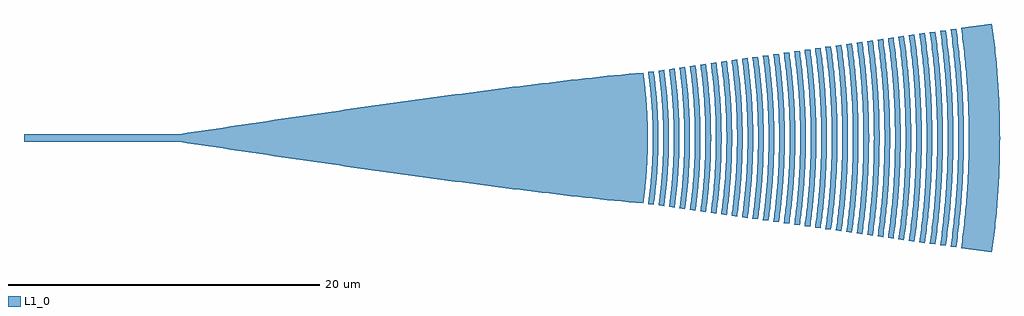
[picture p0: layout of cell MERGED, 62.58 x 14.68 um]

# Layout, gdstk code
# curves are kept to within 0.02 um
import gdstk
lib = gdstk.Library(unit=1e-6, precision=1e-09)
def R(c, l, rs):  # rectangles x0, y0, x1, y1
    for r in rs: c.add(gdstk.rectangle(r[:2], r[2:], *l))
def P(c, l, *ps):  # polygons
    for p in ps: c.add(gdstk.Polygon(p, *l))
L1_0 = (1, 0)

merged = lib.new_cell('MERGED')
R(merged, L1_0, [(-40,-0.25,-30,0.25)])
P(merged, L1_0, [(-0.294,-4.188),(-4.007,-3.828),(-10.505,-3.035),(-17.932,-2.026),(-26.287,-0.811),(-30,-0.25),(-30,0.25),(-20.717,1.629),(-11.898,2.852),(-4.935,3.722),(-2.15,4.026),(-0.294,4.188)],
  [(-0.294,-4.188),(-0.585,-4.147),(-0.376,-2.208),(-0.294,-0.13),(-0.358,1.949),(-0.444,2.985),(-0.585,4.147),(-0.294,4.188),(-0.083,2.23),(0,0.131),(-0.056,-1.837),(-0.165,-3.146)],
  [(22.068,-7.341),(20.087,-7.061),(20.304,-5.304),(20.459,-3.539),(20.552,-1.771),(20.583,0),(20.552,1.771),(20.459,3.539),(20.304,5.304),(20.087,7.061),(22.068,7.341),(22.293,5.513),(22.454,3.679),(22.542,2.071),(22.583,0),(22.542,-2.071),(22.454,-3.679),(22.293,-5.513)],
  [(0.375,-4.282),(0.022,-4.233),(0.245,-2.121),(0.319,-0.133),(0.254,1.989),(0.166,3.047),(0.022,4.233),(0.375,4.282),(0.591,2.28),(0.675,0.134),(0.657,-1.074),(0.591,-2.28)],
  [(1.044,-4.377),(0.691,-4.327),(0.919,-2.169),(0.995,0),(0.919,2.169),(0.691,4.327),(1.044,4.377),(1.274,2.194),(1.351,0.137),(1.332,-1.098),(1.274,-2.194)],
  [(1.713,-4.471),(1.36,-4.421),(1.51,-3.183),(1.602,-2.078),(1.67,-0.139),(1.602,2.078),(1.51,3.183),(1.36,4.421),(1.713,4.471),(1.938,2.381),(2.002,1.261),(2.026,0.14),(2.007,-1.121),(1.948,-2.241)],
  [(2.382,-4.565),(2.029,-4.515),(2.256,-2.404),(2.345,-0.142),(2.276,2.122),(2.182,3.251),(2.029,4.515),(2.382,4.565),(2.522,3.429),(2.622,2.288),(2.682,1.145),(2.702,0),(2.682,-1.145),(2.622,-2.288),(2.522,-3.429)],
  [(3.05,-4.659),(2.698,-4.61),(2.93,-2.455),(3.021,-0.145),(3.01,0.867),(2.95,2.166),(2.854,3.318),(2.698,4.61),(3.05,4.659),(3.285,2.481),(3.357,1.168),(3.377,0.146),(3.315,-2.044),(3.223,-3.209)],
  [(3.719,-4.754),(3.366,-4.704),(3.511,-3.533),(3.614,-2.358),(3.696,-0.147),(3.681,1.032),(3.624,2.211),(3.511,3.533),(3.366,4.704),(3.719,4.754),(3.865,3.57),(3.969,2.383),(4.032,1.192),(4.053,0),(4.032,-1.192),(3.969,-2.383),(3.865,-3.57)],
  [(4.388,-4.848),(4.035,-4.798),(4.198,-3.454),(4.288,-2.405),(4.351,-1.203),(4.372,0),(4.351,1.203),(4.288,2.405),(4.198,3.454),(4.035,4.798),(4.388,4.848),(4.632,2.582),(4.701,1.368),(4.728,0.152),(4.707,-1.216),(4.643,-2.43),(4.537,-3.641)],
  [(5.057,-4.942),(4.704,-4.893),(4.939,-2.758),(5.014,-1.533),(5.047,-0.153),(5.031,1.074),(4.972,2.299),(4.87,3.522),(4.704,4.893),(5.057,4.942),(5.192,3.866),(5.317,2.477),(5.382,1.239),(5.404,0),(5.382,-1.239),(5.317,-2.477),(5.192,-3.866)],
  [(5.726,-5.037),(5.373,-4.987),(5.526,-3.746),(5.646,-2.344),(5.723,0),(5.646,2.344),(5.526,3.746),(5.373,4.987),(5.726,5.037),(5.88,3.783),(5.991,2.525),(6.079,0.158),(6.057,-1.263),(5.991,-2.525),(5.88,-3.783)],
  [(6.395,-5.131),(6.042,-5.081),(6.198,-3.816),(6.309,-2.547),(6.398,-0.159),(6.386,0.956),(6.32,2.388),(6.198,3.816),(6.042,5.081),(6.395,5.131),(6.653,2.732),(6.732,1.287),(6.755,0),(6.732,-1.287),(6.653,-2.732)],
  [(7.063,-5.225),(6.711,-5.175),(6.852,-4.049),(6.983,-2.594),(7.051,-1.298),(7.074,0),(7.051,1.298),(6.983,2.594),(6.852,4.049),(6.711,5.175),(7.063,5.225),(7.224,3.925),(7.338,2.619),(7.401,1.474),(7.43,0.164),(7.407,-1.31),(7.338,-2.619),(7.224,-3.925)],
  [(7.732,-5.32),(7.379,-5.27),(7.541,-3.958),(7.657,-2.641),(7.72,-1.487),(7.749,-0.165),(7.726,1.321),(7.657,2.641),(7.541,3.958),(7.379,5.27),(7.732,5.32),(7.878,4.161),(8,2.833),(8.076,1.501),(8.105,0.167),(8.088,-1.167),(8.012,-2.666),(7.878,-4.161)],
  [(8.401,-5.414),(8.048,-5.364),(8.213,-4.029),(8.342,-2.521),(8.401,-1.345),(8.425,0),(8.401,1.345),(8.342,2.521),(8.213,4.029),(8.048,5.364),(8.401,5.414),(8.585,3.897),(8.686,2.714),(8.763,1.188),(8.781,0),(8.763,-1.188),(8.686,-2.714),(8.585,-3.897)],
  [(9.07,-5.508),(8.717,-5.458),(8.866,-4.27),(8.992,-2.907),(9.07,-1.54),(9.1,-0.171),(9.082,1.198),(9.016,2.565),(8.902,3.929),(8.717,5.458),(9.07,5.508),(9.239,4.137),(9.36,2.761),(9.426,1.554),(9.456,0.173),(9.438,-1.209),(9.36,-2.761),(9.239,-4.137)],
  [(9.739,-5.602),(9.386,-5.553),(9.538,-4.344),(9.678,-2.783),(9.745,-1.566),(9.775,-0.174),(9.757,1.218),(9.69,2.609),(9.574,3.997),(9.386,5.553),(9.739,5.602),(9.911,4.208),(10.021,2.983),(10.101,1.58),(10.132,0),(10.101,-1.58),(10.021,-2.983),(9.911,-4.208)],
  [(10.408,-5.697),(10.055,-5.647),(10.228,-4.241),(10.352,-2.83),(10.426,-1.416),(10.451,0),(10.426,1.416),(10.352,2.83),(10.228,4.241),(10.055,5.647),(10.408,5.697),(10.601,4.101),(10.707,2.855),(10.776,1.607),(10.807,0.179),(10.788,-1.25),(10.707,-2.855),(10.601,-4.101)],
  [(11.076,-5.791),(10.724,-5.741),(10.9,-4.312),(11.026,-2.878),(11.101,-1.44),(11.126,-0.18),(11.107,1.26),(11.026,2.878),(10.9,4.312),(10.724,5.741),(11.076,5.791),(11.235,4.53),(11.381,2.903),(11.457,1.452),(11.483,0),(11.457,-1.452),(11.381,-2.903),(11.235,-4.53)],
  [(11.745,-5.885),(11.392,-5.836),(11.59,-4.201),(11.712,-2.742),(11.782,-1.281),(11.802,0),(11.782,1.281),(11.712,2.742),(11.59,4.201),(11.392,5.836),(11.745,5.885),(11.926,4.42),(12.055,2.95),(12.132,1.476),(12.158,0.185),(12.132,-1.476),(12.055,-2.95),(11.926,-4.42)],
  [(12.414,-5.98),(12.061,-5.93),(12.243,-4.454),(12.36,-3.158),(12.437,-1.859),(12.477,-0.186),(12.463,1.115),(12.386,2.787),(12.243,4.454),(12.061,5.93),(12.414,5.98),(12.617,4.305),(12.729,2.997),(12.807,1.499),(12.834,0),(12.807,-1.499),(12.729,-2.997),(12.617,-4.305)],
  [(13.083,-6.074),(12.73,-6.024),(12.915,-4.525),(13.047,-3.019),(13.126,-1.511),(13.153,0),(13.126,1.511),(13.047,3.019),(12.915,4.525),(12.73,6.024),(13.083,6.074),(13.249,4.751),(13.389,3.234),(13.475,1.713),(13.509,0.19),(13.489,-1.333),(13.415,-2.854),(13.289,-4.372)],
  [(13.752,-6.168),(13.399,-6.118),(13.587,-4.595),(13.721,-3.067),(13.794,-1.726),(13.828,-0.192),(13.808,1.343),(13.721,3.067),(13.587,4.595),(13.399,6.118),(13.752,6.168),(13.941,4.633),(14.076,3.092),(14.15,1.74),(14.184,0.193),(14.164,-1.353),(14.076,-3.092),(13.941,-4.633)],
  [(14.421,-6.262),(14.068,-6.213),(14.258,-4.666),(14.408,-2.92),(14.483,-1.363),(14.504,0),(14.483,1.363),(14.408,2.92),(14.258,4.666),(14.068,6.213),(14.421,6.262),(14.613,4.704),(14.75,3.139),(14.839,1.374),(14.86,0),(14.839,-1.374),(14.75,-3.139),(14.613,-4.704)],
  [(15.089,-6.357),(14.737,-6.307),(14.909,-4.934),(15.054,-3.358),(15.144,-1.779),(15.179,-0.198),(15.158,1.384),(15.082,2.964),(14.93,4.737),(14.737,6.307),(15.089,6.357),(15.305,4.576),(15.424,3.186),(15.5,1.793),(15.535,0.199),(15.514,-1.395),(15.424,-3.186),(15.305,-4.576)],
  [(15.758,-6.451),(15.405,-6.401),(15.602,-4.808),(15.728,-3.409),(15.819,-1.806),(15.854,-0.201),(15.833,1.405),(15.756,3.008),(15.602,4.808),(15.405,6.401),(15.758,6.451),(15.956,4.845),(16.098,3.233),(16.175,1.82),(16.211,0),(16.175,-1.82),(16.098,-3.233),(15.956,-4.845)],
  [(16.427,-6.545),(16.074,-6.496),(16.252,-5.081),(16.416,-3.256),(16.494,-1.832),(16.53,0),(16.494,1.832),(16.416,3.256),(16.252,5.081),(16.074,6.496),(16.427,6.545),(16.606,5.12),(16.757,3.485),(16.85,1.846),(16.886,0.205),(16.858,-1.641),(16.785,-3.076),(16.628,-4.916)],
  [(17.096,-6.64),(16.743,-6.59),(16.945,-4.949),(17.09,-3.303),(17.169,-1.859),(17.205,-0.207),(17.183,1.446),(17.09,3.303),(16.945,4.949),(16.743,6.59),(17.096,6.64),(17.3,4.987),(17.445,3.328),(17.533,1.665),(17.562,0),(17.533,-1.665),(17.445,-3.328),(17.3,-4.987)],
  [(17.765,-6.734),(17.412,-6.684),(17.617,-5.02),(17.778,-3.141),(17.858,-1.467),(17.881,0),(17.858,1.467),(17.778,3.141),(17.617,5.02),(17.412,6.684),(17.765,6.734),(17.949,5.268),(18.104,3.586),(18.2,1.9),(18.237,0.211),(18.215,-1.478),(18.119,-3.375),(17.949,-5.268)],
  [(18.434,-6.828),(18.081,-6.778),(18.289,-5.091),(18.422,-3.61),(18.519,-1.912),(18.556,-0.213),(18.527,1.7),(18.452,3.186),(18.289,5.091),(18.081,6.778),(18.434,6.828),(18.643,5.128),(18.793,3.422),(18.883,1.712),(18.913,0),(18.883,-1.712),(18.793,-3.422),(18.643,-5.128)],
  [(19.102,-6.922),(18.75,-6.873),(18.96,-5.162),(19.111,-3.445),(19.202,-1.723),(19.232,0),(19.202,1.723),(19.111,3.445),(18.96,5.162),(18.75,6.873),(19.102,6.922),(19.315,5.199),(19.467,3.47),(19.55,1.953),(19.588,0.217),(19.558,-1.736),(19.467,-3.47),(19.315,-5.199)],
  [(19.771,-7.017),(19.418,-6.967),(19.632,-5.233),(19.785,-3.492),(19.877,-1.747),(19.907,-0.218),(19.884,1.529),(19.8,3.274),(19.655,5.015),(19.418,6.967),(19.771,7.017),(19.963,5.489),(20.14,3.517),(20.225,1.979),(20.263,0.22),(20.24,-1.54),(20.155,-3.298),(20.009,-5.051)])

lib.write_gds('MERGED.gds')
